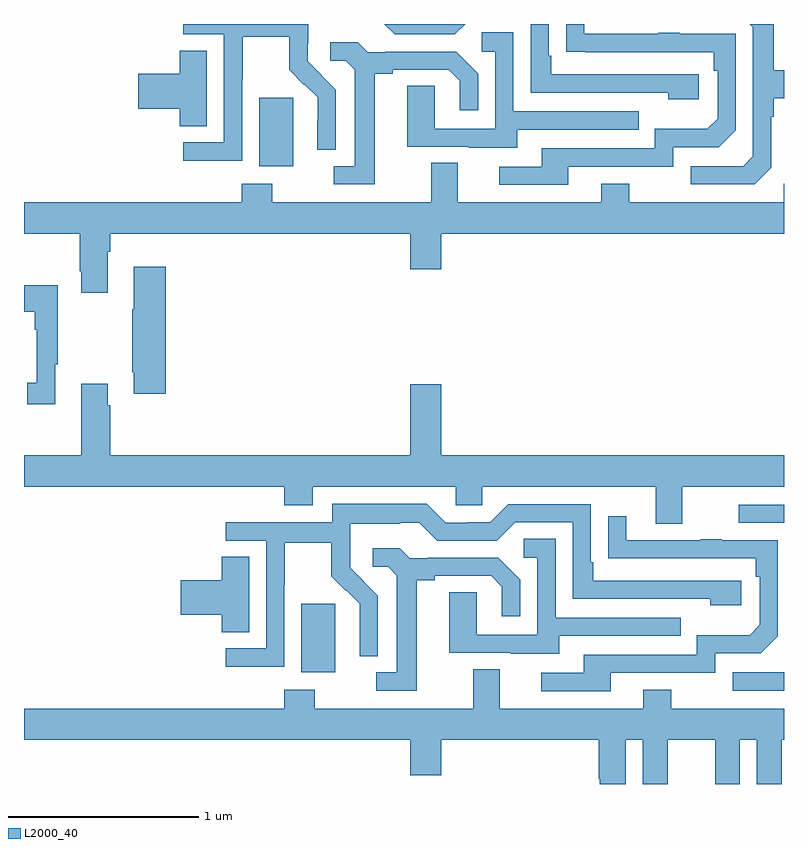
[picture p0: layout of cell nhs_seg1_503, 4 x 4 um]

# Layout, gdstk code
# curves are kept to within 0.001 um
import gdstk
lib = gdstk.Library(unit=1e-6, precision=1e-09)
def R(c, l, rs):  # rectangles x0, y0, x1, y1
    for r in rs: c.add(gdstk.rectangle(r[:2], r[2:], *l))
def P(c, l, *ps):  # polygons
    for p in ps: c.add(gdstk.Polygon(p, *l))
L2000_40 = (2000, 40)

nhs_seg1_503 = lib.new_cell('nhs_seg1_503')
R(nhs_seg1_503, L2000_40, [(142.731,518.691,143,518.787), (140.459,518.786,140.638,519.147), (142.761,519.573,143,519.669), (140.237,521.45,140.416,521.811)])
P(nhs_seg1_503, L2000_40, [(141.865,521.448),(142.416,521.448),(142.416,521.55),(142.656,521.55),(142.746,521.64),(142.746,522.147),(142.451,522.147),(142.451,522.152),(142.339,522.152),(142.339,522.147),(141.949,522.147),(141.949,522.199),(141.853,522.199),(141.853,522.052),(142.63,522.051),(142.63,521.954),(142.65,521.954),(142.65,521.7),(142.597,521.647),(142.32,521.647),(142.32,521.544),(141.725,521.544),(141.725,521.448),(141.501,521.448),(141.501,521.352),(141.865,521.352)],
  [(142.552,521.934),(141.775,521.934),(141.775,522.031),(141.762,522.031),(141.762,522.199),(141.666,522.199),(141.666,521.838),(142.391,521.838),(142.391,521.804),(142.552,521.804)],
  [(141.322,522.199),(140.897,522.199),(140.952,522.144),(141.267,522.144)],
  [(140.148,521.908),(140.151,521.908),(140.151,522.132),(140.395,522.132),(140.395,521.957),(140.472,521.88),(140.475,521.883),(140.546,521.813),(140.546,521.69),(140.544,521.69),(140.544,521.536),(140.64,521.536),(140.64,521.854),(140.494,522.002),(140.494,522.099),(140.496,522.099),(140.496,522.199),(139.839,522.199),(139.839,522.144),(140.052,522.144),(140.052,521.577),(139.839,521.577),(139.839,521.479),(140.148,521.479)],
  [(142.932,521.442),(142.932,521.711),(142.945,521.711),(142.945,521.807),(143,521.807),(143,521.955),(142.945,521.955),(142.945,522.199),(142.82,522.199),(142.836,522.183),(142.836,521.502),(142.785,521.451),(142.509,521.451),(142.509,521.355),(142.845,521.355)],
  [(141.595,521.643),(142.235,521.643),(142.235,521.739),(141.576,521.739),(141.576,522.155),(141.408,522.155),(141.408,522.054),(141.48,522.054),(141.48,521.649),(141.162,521.649),(141.162,521.873),(141.017,521.873),(141.017,521.553),(141.341,521.553),(141.341,521.549),(141.595,521.549)],
  [(140.845,521.936),(140.941,521.936),(140.941,521.958),(141.236,521.958),(141.293,521.901),(141.293,521.745),(141.39,521.745),(141.39,521.938),(141.274,522.054),(140.902,522.054),(140.902,522.051),(140.808,522.051),(140.756,522.103),(140.613,522.103),(140.613,522.006),(140.694,522.006),(140.741,521.959),(140.741,521.451),(140.631,521.451),(140.631,521.355),(140.845,521.355)],
  [(139.963,522.059),(139.82,522.059),(139.82,521.936),(139.602,521.936),(139.602,521.753),(139.82,521.753),(139.82,521.662),(139.963,521.662)],
  [(139.441,521),(139.454,521),(139.454,521.096),(141.032,521.096),(141.032,520.908),(141.196,520.908),(141.196,521.096),(143,521.096),(143,521.359),(142.998,521.359),(142.998,521.26),(142.185,521.26),(142.185,521.359),(142.037,521.359),(142.037,521.26),(141.283,521.26),(141.283,521.468),(141.143,521.468),(141.143,521.26),(140.307,521.26),(140.307,521.359),(140.147,521.359),(140.147,521.26),(139,521.26),(139,521.096),(139.294,521.096),(139.294,520.897),(139.301,520.897),(139.301,520.785),(139.441,520.785)],
  [(139.745,520.921),(139.577,520.921),(139.577,520.697),(139.57,520.697),(139.57,520.366),(139.577,520.366),(139.577,520.254),(139.745,520.254)],
  [(139.165,520.409),(139.177,520.409),(139.177,520.825),(139,520.825),(139,520.685),(139.056,520.685),(139.056,520.589),(139.068,520.589),(139.068,520.31),(139.017,520.31),(139.017,520.197),(139.165,520.197)],
  [(142.465,519.764),(143,519.764),(143,519.928),(141.196,519.928),(141.196,520.303),(141.032,520.303),(141.032,519.928),(139.454,519.928),(139.454,520.193),(139.441,520.193),(139.441,520.306),(139.301,520.306),(139.301,519.928),(139,519.928),(139,519.764),(140.369,519.764),(140.369,519.665),(140.521,519.665),(140.521,519.764),(141.273,519.764),(141.273,519.666),(141.411,519.666),(141.411,519.764),(142.325,519.764),(142.325,519.57),(142.465,519.57)],
  [(140.37,519.244),(140.373,519.244),(140.373,519.468),(140.617,519.468),(140.617,519.293),(140.694,519.216),(140.697,519.219),(140.768,519.149),(140.768,519.026),(140.766,519.026),(140.766,518.872),(140.862,518.872),(140.862,519.19),(140.716,519.338),(140.716,519.435),(140.718,519.435),(140.718,519.569),(140.981,519.569),(140.981,519.573),(141.081,519.573),(141.174,519.48),(141.489,519.48),(141.585,519.576),(141.888,519.576),(141.888,519.174),(142.613,519.174),(142.613,519.14),(142.774,519.14),(142.774,519.27),(141.997,519.27),(141.997,519.367),(141.984,519.367),(141.984,519.672),(141.549,519.672),(141.453,519.576),(141.335,519.576),(141.335,519.573),(141.219,519.573),(141.119,519.673),(140.622,519.673),(140.622,519.576),(140.061,519.576),(140.061,519.48),(140.274,519.48),(140.274,518.913),(140.061,518.913),(140.061,518.815),(140.37,518.815)],
  [(142.087,518.784),(142.638,518.784),(142.638,518.886),(142.878,518.886),(142.968,518.976),(142.968,519.483),(142.673,519.483),(142.673,519.488),(142.561,519.488),(142.561,519.483),(142.171,519.483),(142.171,519.607),(142.075,519.607),(142.075,519.388),(142.852,519.387),(142.852,519.29),(142.872,519.29),(142.872,519.036),(142.819,518.983),(142.542,518.983),(142.542,518.88),(141.947,518.88),(141.947,518.784),(141.723,518.784),(141.723,518.688),(142.087,518.688)],
  [(141.817,518.979),(142.457,518.979),(142.457,519.075),(141.798,519.075),(141.798,519.491),(141.63,519.491),(141.63,519.39),(141.702,519.39),(141.702,518.985),(141.384,518.985),(141.384,519.209),(141.239,519.209),(141.239,518.889),(141.563,518.889),(141.563,518.885),(141.817,518.885)],
  [(141.067,519.272),(141.163,519.272),(141.163,519.294),(141.458,519.294),(141.515,519.237),(141.515,519.081),(141.612,519.081),(141.612,519.274),(141.496,519.39),(141.124,519.39),(141.124,519.387),(141.03,519.387),(140.978,519.439),(140.835,519.439),(140.835,519.342),(140.916,519.342),(140.963,519.295),(140.963,518.787),(140.853,518.787),(140.853,518.691),(141.067,518.691)],
  [(140.185,519.395),(140.042,519.395),(140.042,519.272),(139.824,519.272),(139.824,519.089),(140.042,519.089),(140.042,518.998),(140.185,518.998)],
  [(142.168,518.432),(142.256,518.432),(142.256,518.199),(142.387,518.199),(142.387,518.432),(142.637,518.432),(142.637,518.199),(142.768,518.199),(142.768,518.432),(142.856,518.432),(142.856,518.199),(142.987,518.199),(142.987,518.432),(143,518.432),(143,518.596),(142.407,518.596),(142.407,518.695),(142.259,518.695),(142.259,518.596),(141.505,518.596),(141.505,518.804),(141.365,518.804),(141.365,518.596),(140.529,518.596),(140.529,518.695),(140.369,518.695),(140.369,518.596),(139,518.596),(139,518.432),(141.032,518.432),(141.032,518.244),(141.196,518.244),(141.196,518.432),(142.025,518.432),(142.025,518.227),(142.031,518.227),(142.031,518.199),(142.168,518.199)])

lib.write_gds('nhs_seg1_503.gds')
